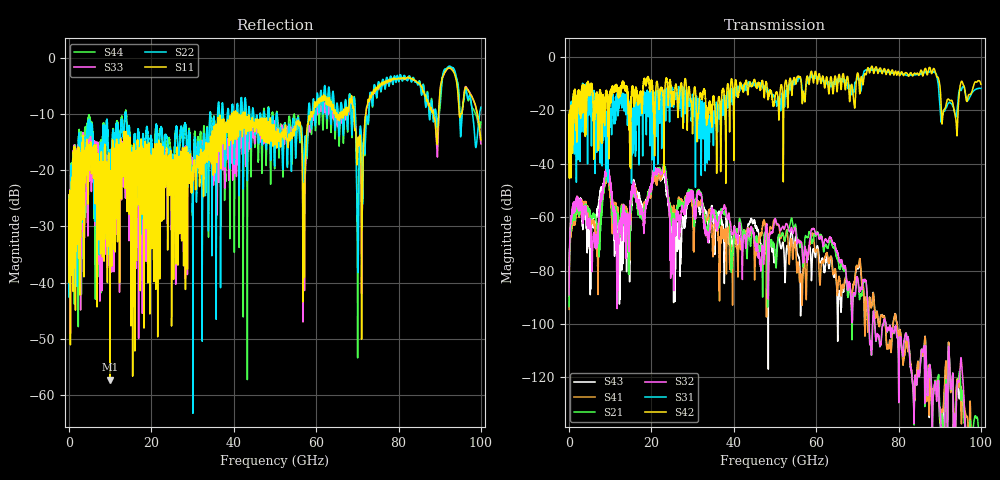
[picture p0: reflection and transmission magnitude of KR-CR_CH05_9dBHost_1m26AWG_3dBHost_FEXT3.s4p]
# GHz S MA R 50.00
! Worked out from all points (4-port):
!   10000 points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, 10 MHz to 100 GHz, reference 50 ohm
!   strongest paths, dB at 10 MHz, 25.01 GHz, 50.01 GHz, 75.01 GHz, 100 GHz:
!     S42: -28.5, -16.1, -14.7, -6.1, -10.2
!     S31: -28.5, -12.3, -16.8, -4.8, -11.8
!     S32: -89.0, -71.6, -60.6, -104.2, -153.4
!     S21: -93.5, -59.7, -74.1, -104.3, -151.4
!     S41: -94.5, -57.5, -60.8, -98.5, -151.3
!     S43: -89.6, -63.4, -75.0, -98.3, -163.4
!   lowest |S11| = -57.3 dB at 9.93 GHz (marker M1), VSWR 1.00, Z = 50.1 - j0.0844 ohm
!   |S11| at or under -10 dB: start of sweep to 39.47 GHz; 42.8 GHz to 58.66 GHz (15.86 GHz wide, 31.3 % of centre); 69.21 GHz to 72.04 GHz (2.836 GHz wide, 4.02 % of centre)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
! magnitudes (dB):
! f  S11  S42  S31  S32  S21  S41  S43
! 10 MHz  -24.4  -28.5  -28.5  -89.0  -93.5  -94.5  -89.6
! 9.93 GHz  -57.3  -17.1  -23.3  -46.0  -47.5  -50.1  -48.4
! 12.59 GHz  -15.5  -10.9  -13.8  -63.3  -59.4  -59.9  -72.7
! 20.87 GHz  -15.9  -21.1  -14.1  -41.8  -41.7  -44.4  -43.2
! 25.08 GHz  -19.2  -13.8  -11.3  -76.9  -59.7  -57.5  -66.1
! 31.63 GHz  -20.4  -16.0  -30.4  -50.9  -50.8  -55.6  -58.1
! 100 GHz  -14.6  -10.2  -11.8  -153.4  -151.4  -151.3  -163.4
